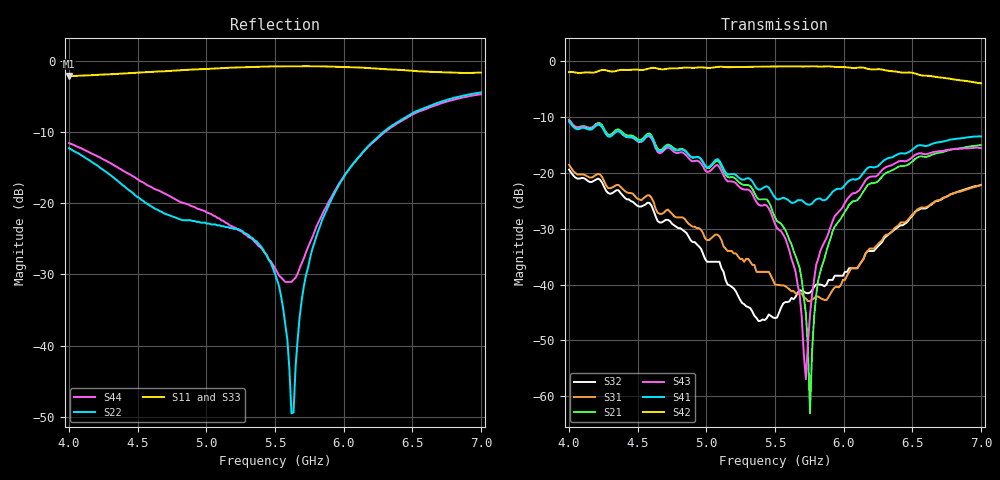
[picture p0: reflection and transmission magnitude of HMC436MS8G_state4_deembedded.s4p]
!Hittite Microwave Corporation
!12 Elizabeth Drive
!Chelmsford, MA 01824
!Tel: 978-250-3343
!Fax: 978-250-3373
!Device: HMC436MS8G, 4.9-5.9 GHz GaAs MMIC DPDT Diversity Switch in 8-lead Grounded Base surface Mount Plastic Package
!Misc:  Port 1 = ANT1, Port 2 = ANT2, Port 3 = Tx, Port 4 = Rx, Vctl=+3V, State 4 selected, Room
# MHZ S MA R 50
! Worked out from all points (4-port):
!   201 points, 4 GHz to 7 GHz, reference 50 ohm
!   strongest paths, dB at 4 GHz, 4.75 GHz, 5.5 GHz, 6.25 GHz, 7 GHz:
!     S42: -1.9, -1.2, -0.9, -1.4, -3.9
!     S41: -10.8, -15.5, -24.4, -18.8, -13.4
!     S43: -10.5, -15.9, -29.1, -20.4, -15.5
!     S21: -10.5, -15.3, -28.0, -21.5, -15.0
!     S31: -18.6, -27.3, -40.0, -32.8, -22.2
!     S32: -19.4, -29.1, -46.0, -33.2, -22.2
!   lowest |S11| = -2.1 dB at 4 GHz (marker M1), VSWR 8.26, Z = 379 - j113 ohm
!   |S11| at or under -10 dB: nowhere
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4000  0.784 -4.2  0.283 0.1  0.123 -39.4  0.272 -3.7
      0.3 -4.7  0.244 69.9  0.112 -62.6  0.788 53.2
      0.118 -43.2  0.107 -66.6  0.781 -6.9  0.281 -4.0
      0.288 -8.6  0.801 52.0  0.297 -8.9  0.265 67.5
5440  0.915 -50.2  0.053 -13.5  0.012 18.2  0.07 20.8
      0.058 -13.2  0.043 -34.7  0.005099 -166.8  0.898 48.6
      0.013 20.4  0.004994 -163.4  0.912 -50.3  0.047 -12.0
      0.076 21.4  0.899 48.6  0.051 -11.4  0.043 46.7
5620  0.919 -54.9  0.023 -18.1  0.009833 45.5  0.056 43.3
      0.023 -17.1  0.003337 -80.3  0.007975 157.6  0.897 47.3
      0.008711 47.5  0.007594 157.9  0.915 -54.2  0.018 -11.7
      0.054 43.7  0.902 47.6  0.017 -10.2  0.028 97.2
5725  0.92 -58.8  0.005921 -31.8  0.007572 68.3  0.055 60.5
      0.005477 -33.0  0.031 149.9  0.008621 152.1  0.901 46.6
      0.007497 67.1  0.008402 149.8  0.915 -57.4  0.001648 86.3
      0.053 57.3  0.9 46.9  0.001419 81.9  0.045 134.9
5755  0.919 -59.8  0.001312 -96.5  0.007086 76.5  0.055 65.8
      0.0007019 -107.6  0.041 148.3  0.008819 151.9  0.901 46.5
      0.007082 78.7  0.008472 154.4  0.915 -58.5  0.00572 151.3
      0.052 66.4  0.904 46.5  0.005397 153.0  0.053 140.2
5935  0.912 -66.5  0.032 165.5  0.008849 130.5  0.068 92.2
      0.033 166.5  0.118 140.3  0.011 165.1  0.894 44.4
      0.009416 130.9  0.012 165.3  0.903 -64.7  0.039 157.8
      0.07 93.3  0.891 44.1  0.041 158.4  0.122 147.8
7000  0.829 -136.1  0.173 138.9  0.078 163.0  0.208 101.1
      0.177 138.8  0.601 120.4  0.078 176.4  0.636 37.6
      0.078 162.6  0.078 176.6  0.805 -141.9  0.163 126.1
      0.213 100.7  0.636 37.9  0.167 125.8  0.584 119.0
